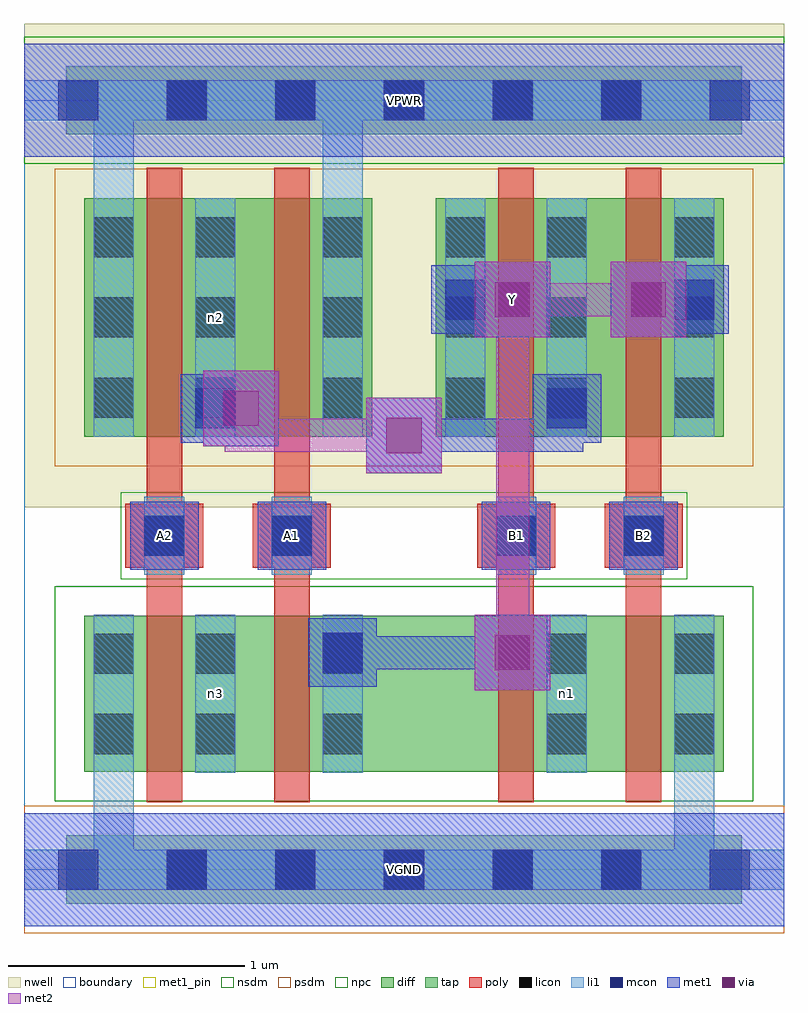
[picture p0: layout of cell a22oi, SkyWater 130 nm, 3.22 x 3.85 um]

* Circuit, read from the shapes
.subckt a22oi A1 A2 B1 B2 VGND VPWR Y n1 n2 n3
XM1 n3 A2 VGND VGND sky130_fd_pr__nfet_01v8 w=0.66 l=0.15
XM2 Y A1 n3 VGND sky130_fd_pr__nfet_01v8 w=0.66 l=0.15
XM3 n1 B1 Y VGND sky130_fd_pr__nfet_01v8 w=0.66 l=0.15
XM4 VGND B2 n1 VGND sky130_fd_pr__nfet_01v8 w=0.66 l=0.15
XM5 n2 A2 VPWR VPWR sky130_fd_pr__pfet_01v8 w=1.01 l=0.15
XM6 VPWR A1 n2 VPWR sky130_fd_pr__pfet_01v8 w=1.01 l=0.15
XM7 n2 B1 Y VPWR sky130_fd_pr__pfet_01v8 w=1.01 l=0.15
XM8 Y B2 n2 VPWR sky130_fd_pr__pfet_01v8 w=1.01 l=0.15
.ends

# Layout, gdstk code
import gdstk
lib = gdstk.Library(unit=1e-6, precision=1e-09)
def R(c, l, rs):  # rectangles x0, y0, x1, y1
    for r in rs: c.add(gdstk.rectangle(r[:2], r[2:], *l))
def A(c, l, x, y, w, h, nx, ny, dx, dy):  # array of equal rectangles
    R(c, l, [(x+i*dx, y+j*dy, x+i*dx+w, y+j*dy+h) for i in range(nx) for j in range(ny)])
nwell = (64, 20)
diff = (65, 20)
tap = (65, 44)
poly = (66, 20)
licon = (66, 44)
li1 = (67, 20)
mcon = (67, 44)
met1_pin = (68, 16)
met1 = (68, 20)
via = (68, 44)
met2 = (69, 20)
nsdm = (93, 44)
psdm = (94, 20)
npc = (95, 20)
boundary = (235, 4)

a22oi = lib.new_cell('a22oi')
R(a22oi, nwell, [(0,1.535,3.22,3.585)])
R(a22oi, diff, [(0.255,0.415,2.965,1.075), (0.255,1.835,1.475,2.845), (1.745,1.835,2.965,2.845)])
R(a22oi, tap, [(0.18,-0.145,3.04,0.145), (0.18,3.115,3.04,3.405)])
R(a22oi, poly, [(0.52,0.285,0.67,2.975), (1.06,0.285,1.21,2.975), (2.01,0.285,2.16,2.975), (2.55,0.285,2.7,2.975), (0.43,1.28,0.76,1.55), (0.97,1.28,1.3,1.55), (1.92,1.28,2.25,1.55), (2.46,1.28,2.79,1.55)])
A(a22oi, licon, 0.605, -0.085, 0.17, 0.17, 5, 2, 0.46, 3.26)
A(a22oi, licon, 0.295, 1.915, 0.17, 0.17, 1, 3, 0, 0.34)
A(a22oi, licon, 0.725, 1.915, 0.17, 0.17, 1, 3, 0, 0.34)
A(a22oi, licon, 1.265, 1.915, 0.17, 0.17, 1, 3, 0, 0.34)
A(a22oi, licon, 1.785, 1.915, 0.17, 0.17, 1, 3, 0, 0.34)
A(a22oi, licon, 2.215, 1.915, 0.17, 0.17, 1, 3, 0, 0.34)
A(a22oi, licon, 2.755, 1.915, 0.17, 0.17, 1, 3, 0, 0.34)
R(a22oi, licon, [(0.295,0.49,0.465,0.66), (0.725,0.49,0.895,0.66), (1.265,0.49,1.435,0.66), (2.215,0.49,2.385,0.66), (2.755,0.49,2.925,0.66), (0.295,0.83,0.465,1), (0.725,0.83,0.895,1), (1.265,0.83,1.435,1), (2.215,0.83,2.385,1), (2.755,0.83,2.925,1), (0.51,1.33,0.68,1.5), (1.05,1.33,1.22,1.5), (2,1.33,2.17,1.5), (2.54,1.33,2.71,1.5)])
R(a22oi, li1, [(0,-0.085,3.22,0.085), (0.295,-0.085,0.465,1.08), (2.755,-0.085,2.925,1.08), (0.295,0.41,0.465,1.08), (0.725,0.41,0.895,1.08), (1.265,0.41,1.435,1.08), (2.215,0.41,2.385,1.08), (2.755,0.41,2.925,1.08), (0.51,1.25,0.68,1.58), (1.05,1.25,1.22,1.58), (2,1.25,2.17,1.58), (2.54,1.25,2.71,1.58), (0.295,1.835,0.465,2.845), (0.295,1.835,0.465,3.345), (0.725,1.835,0.895,2.845), (1.265,1.835,1.435,2.845), (1.265,1.835,1.435,3.345), (1.785,1.835,1.955,2.845), (2.215,1.835,2.385,2.845), (2.755,1.835,2.925,2.845), (0,3.175,3.22,3.345)])
A(a22oi, mcon, 0.145, -0.085, 0.17, 0.17, 7, 2, 0.46, 3.26)
R(a22oi, mcon, [(1.265,0.835,1.435,1.005), (0.51,1.33,0.68,1.5), (1.05,1.33,1.22,1.5), (2,1.33,2.17,1.5), (2.54,1.33,2.71,1.5), (0.725,1.87,0.895,2.04), (2.215,1.87,2.385,2.04), (1.785,2.33,1.955,2.5), (2.755,2.33,2.925,2.5)])
R(a22oi, met1_pin, [(0,-0.24,3.22,0.24), (0.45,1.27,0.74,1.56), (0.99,1.27,1.28,1.56), (1.94,1.27,2.23,1.56), (2.48,1.27,2.77,1.56), (1.91,2.255,2.23,2.575), (0,3.02,3.22,3.5)])
R(a22oi, met1, [(0,-0.24,3.22,0.24), (1.91,0.76,2.23,1.08), (1.205,0.775,1.495,1.065), (1.28,0.85,1.565,0.99), (1.425,0.85,2.14,0.99), (0.45,1.27,0.74,1.56), (0.99,1.27,1.28,1.56), (1.94,1.27,2.23,1.56), (2.48,1.27,2.77,1.56), (1.45,1.68,1.77,2), (1.54,1.77,2.37,1.91), (2.23,1.77,2.37,2.025), (0.76,1.795,1.08,2.115), (0.665,1.81,0.955,2.1), (2.155,1.81,2.445,2.1), (0.74,1.885,0.99,2.025), (1.91,2.255,2.23,2.575), (2.485,2.255,2.805,2.575), (1.725,2.27,2.015,2.56), (2.695,2.27,2.985,2.56), (1.8,2.345,2.14,2.485), (2.575,2.345,2.91,2.485), (0,3.02,3.22,3.5)])
R(a22oi, via, [(1.995,0.845,2.145,0.995), (1.535,1.765,1.685,1.915), (0.845,1.88,0.995,2.03), (1.995,2.34,2.145,2.49), (2.57,2.34,2.72,2.49)])
R(a22oi, met2, [(1.91,0.76,2.23,1.08), (2,0.85,2.14,2.485), (1.45,1.68,1.77,2), (0.85,1.77,1.68,1.91), (0.85,1.77,0.99,2.025), (0.76,1.795,1.08,2.115), (1.91,2.255,2.23,2.575), (2.485,2.255,2.805,2.575), (2,2.345,2.715,2.485)])
R(a22oi, nsdm, [(0.13,0.29,3.09,1.2), (0,2.99,3.22,3.53)])
R(a22oi, psdm, [(0,-0.27,3.22,0.27), (0.13,1.71,3.09,2.97)])
R(a22oi, npc, [(0.41,1.23,2.81,1.6)])
R(a22oi, boundary, [(0,0,3.22,3.26)])
a22oi.add(gdstk.Label('n3', (0.81,0.745), layer=67, texttype=5))
a22oi.add(gdstk.Label('n1', (2.3,0.745), layer=67, texttype=5))
a22oi.add(gdstk.Label('n2', (0.81,2.34), layer=67, texttype=5))
a22oi.add(gdstk.Label('A1', (1.135,1.415), layer=68, texttype=5))
a22oi.add(gdstk.Label('A2', (0.595,1.415), layer=68, texttype=5))
a22oi.add(gdstk.Label('B1', (2.085,1.415), layer=68, texttype=5))
a22oi.add(gdstk.Label('B2', (2.625,1.415), layer=68, texttype=5))
a22oi.add(gdstk.Label('Y', (2.07,2.415), layer=68, texttype=5))
a22oi.add(gdstk.Label('VPWR', (1.61,3.26), layer=68, texttype=5))
a22oi.add(gdstk.Label('VGND', (1.61,0), layer=68, texttype=5))
a22oi.add(gdstk.Label('A1', (1.135,1.415), layer=68, texttype=16))
a22oi.add(gdstk.Label('A2', (0.595,1.415), layer=68, texttype=16))
a22oi.add(gdstk.Label('B1', (2.085,1.415), layer=68, texttype=16))
a22oi.add(gdstk.Label('B2', (2.625,1.415), layer=68, texttype=16))
a22oi.add(gdstk.Label('Y', (2.07,2.415), layer=68, texttype=16))
a22oi.add(gdstk.Label('VPWR', (1.61,3.26), layer=68, texttype=16))
a22oi.add(gdstk.Label('VGND', (1.61,0), layer=68, texttype=16))

lib.write_gds('a22oi.gds')
